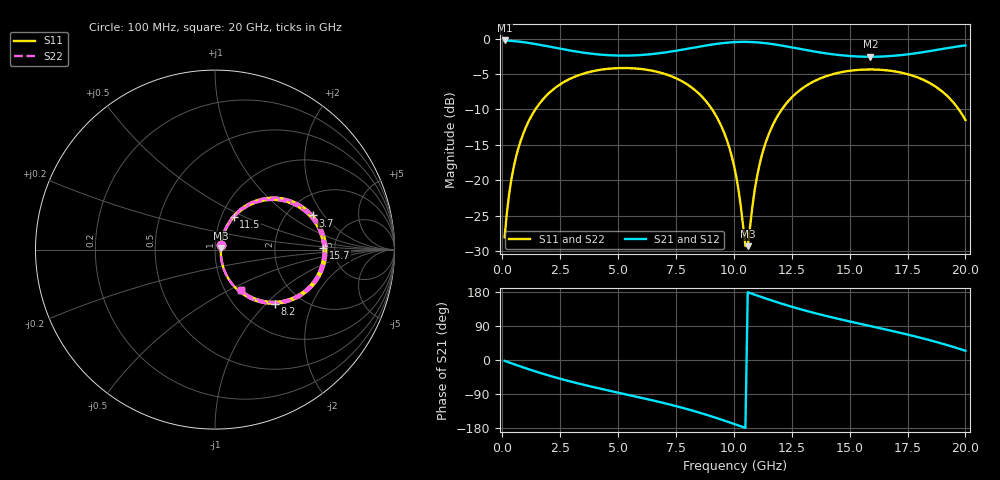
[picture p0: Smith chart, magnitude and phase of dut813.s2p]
! Touchstone file exported from HFSS 2026.1.0
!  File:  C:/ffzhzh/LocalFiles/Ansys_Project_Files/temp_train_TSV_RDL_813_1783264457_38820.aedt
!  Generated:  11:29:52 PM Jul  5, 2026
!  Design:  TSV_RDL
!  Project:  temp_train_TSV_RDL_813_1783264457_38820
! Variables:
!  h_bsmrdl = 4.54um
!  h_ox = 20um
!  h_rdl = 5um
!  h_sub = 74.41um
!  h_tmrdl = 3.12um
!  h_tsv = 74.41um
!  h_via = 3um
!  l_bsmrdl = 613.86um
!  l_sub = 5901.11um
!  l_tmrdl = 888.04um
!  m_sub = 200um
!  pitch = 52.42um
!  r_tsv = 5.74um
!  s_tmrdl = 10um
!  w_bsmrdl = 14.31um
!  w_sub = 500um
!  w_tmrdl = 21.48um
!  x_tsv_center1 = 898.78um
!  x_tsv_center2 = 1526.95um
!  x_tsv_center3 = 2436.47um
!  x_tsv_center4 = 3064.64um
!  x_tsv_center5 = 3974.16um
!  x_tsv_center6 = 4602.33um
# GHz S MA R 50.000000
! Terminal data exported
! Port[1] = TM_RDL1_1_T1
! Port[2] = TM_RDL5_1_T1
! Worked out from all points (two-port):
!   200 points, 100 MHz to 20 GHz, reference 50 ohm
!   highest |S21| = -0.27 dB at 100 MHz (marker M1); lowest = -2.6 dB at 15.9 GHz (marker M2)
!   |S21| within 3 dB of the highest: start of sweep to end of sweep
!   lowest |S11| = -29.3 dB at 10.6 GHz (marker M3), VSWR 1.07, Z = 53.4 + j1.01 ohm
!   |S11| at or under -10 dB: start of sweep to 1.432 GHz; 9.059 GHz to 12.07 GHz (3.016 GHz wide, 28.5 % of centre); 19.71 GHz to end of sweep
!   |S22| runs from -29.3 to -4.2 dB; largest |S21 - S12| = 1.7e-14
!   S11 on the Smith chart (normalised r, x): 100 MHz: 1.06, +0.05; 3.7 GHz: 2.74, +1.57; 8.2 GHz: 1.49, -1.12; 11.5 GHz: 1.15, +0.43; 15.7 GHz: 4.05, +0.13; 20 GHz: 1.18, -0.57
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0.1  0.03961 37.6  0.9693 -2.3  0.9693 -2.3  0.03961 37.6
! Gamma 0 0 0 0
! Port Impedance 50 0 50 0
0.5  0.1254 63.5  0.9592 -11.0  0.9592 -11.0  0.1254 63.5
1.1  0.253 58.6  0.9334 -23.6  0.9334 -23.6  0.253 58.6
2.1  0.424 43.0  0.8727 -42.6  0.8727 -42.6  0.424 43.0
3.5  0.5652 22.0  0.795 -65.2  0.795 -65.2  0.5652 22.0
3.7  0.5774 19.3  0.787 -68.1  0.787 -68.1  0.5774 19.2
5.2  0.6192 -0.5  0.7577 -88.8  0.7577 -88.8  0.6193 -0.5
6.8  0.5761 -21.5  0.7882 -111.0  0.7882 -111.0  0.5761 -21.6
8.2  0.4484 -42.2  0.8583 -133.3  0.8583 -133.3  0.4485 -42.2
9.4  0.2525 -61.0  0.9234 -156.0  0.9234 -156.0  0.2525 -61.1
10.1  0.107 -65.0  0.9449 -170.6  0.9449 -170.6  0.107 -65.0
10.5  0.03437 -20.5  0.9475 -179.2  0.9475 -179.2  0.03433 -20.6
10.6  0.03423 16.1  0.9469 178.7  0.9469 178.7  0.03418 16.1
11  0.106 61.0  0.9399 170.2  0.9399 170.2  0.106 61.0
11.5  0.2095 59.8  0.9217 159.8  0.9217 159.8  0.2095 59.8
12.3  0.3534 48.4  0.8784 144.2  0.8784 144.2  0.3535 48.4
13.4  0.4933 31.7  0.814 125.3  0.814 125.3  0.4933 31.7
15.7  0.6044 1.0  0.744 92.2  0.744 92.2  0.6045 1.0
15.9  0.605 -1.5  0.7435 89.5  0.7435 89.5  0.6051 -1.6
16.7  0.5942 -11.7  0.7511 78.6  0.7511 78.6  0.5943 -11.7
18.6  0.4704 -37.6  0.8224 50.0  0.8224 50.0  0.4705 -37.6
20  0.266 -57.6  0.8947 24.4  0.8947 24.4  0.2661 -57.6
